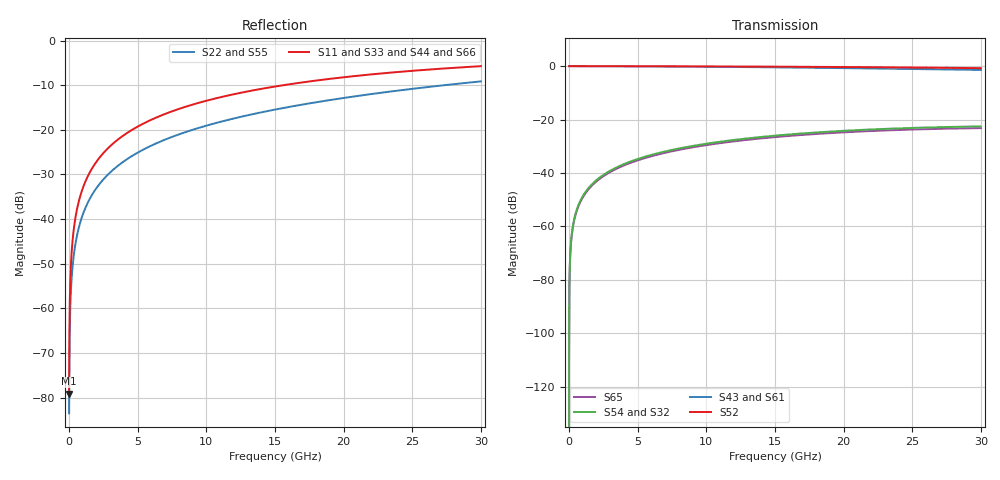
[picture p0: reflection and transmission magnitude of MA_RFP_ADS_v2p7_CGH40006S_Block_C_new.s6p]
! AWR Design Environment (8379) Mon Jun 05 08:20:28 2023
! Document = 'Bondwire Array 1'
! nPorts: 6, nXvals: 3004
# HZ S DB R 50
!Freq DBS11 AngS11 DBS12 AngS12 DBS13 AngS13 DBS14 AngS14
!	DBS15 AngS15 DBS16 AngS16
!	DBS21 AngS21 DBS22 AngS22 DBS23 AngS23 DBS24 AngS24
!	DBS25 AngS25 DBS26 AngS26
!	DBS31 AngS31 DBS32 AngS32 DBS33 AngS33 DBS34 AngS34
!	DBS35 AngS35 DBS36 AngS36
!	DBS41 AngS41 DBS42 AngS42 DBS43 AngS43 DBS44 AngS44
!	DBS45 AngS45 DBS46 AngS46
!	DBS51 AngS51 DBS52 AngS52 DBS53 AngS53 DBS54 AngS54
!	DBS55 AngS55 DBS56 AngS56
!	DBS61 AngS61 DBS62 AngS62 DBS63 AngS63 DBS64 AngS64
!	DBS65 AngS65 DBS66 AngS66
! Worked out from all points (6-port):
!   3003 points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, 10 kHz to 30 GHz, reference 50 ohm
!   strongest paths, dB at 10 kHz, 7.48 GHz, 14.99 GHz, 22.5 GHz, 30 GHz:
!     S52: 0.0, -0.1, -0.2, -0.4, -0.7
!     S43: 0.0, -0.1, -0.4, -0.9, -1.4
!     S61: 0.0, -0.1, -0.5, -1.0, -1.5
!     S54: -134.7, -31.4, -26.0, -23.6, -22.6
!     S32: -134.7, -31.4, -26.0, -23.6, -22.6
!     S65: -134.7, -31.9, -26.6, -24.2, -23.2
!   lowest |S11| = -79.1 dB at 10 kHz (marker M1), VSWR 1.00, Z = 50 + j2.46e-05 ohm
!   |S11| at or under -10 dB: start of sweep to 15.61 GHz
